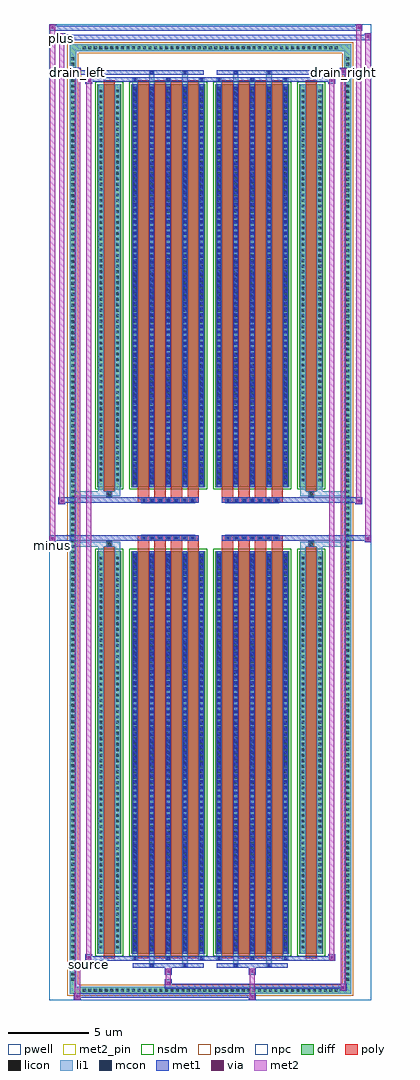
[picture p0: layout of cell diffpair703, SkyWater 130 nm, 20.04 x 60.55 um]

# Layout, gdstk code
import gdstk
lib = gdstk.Library(unit=1e-6, precision=5e-09)
def R(c, l, rs):  # rectangles x0, y0, x1, y1
    for r in rs: c.add(gdstk.rectangle(r[:2], r[2:], *l))
def A(c, l, x, y, w, h, nx, ny, dx, dy):  # array of equal rectangles
    R(c, l, [(x+i*dx, y+j*dy, x+i*dx+w, y+j*dy+h) for i in range(nx) for j in range(ny)])
def P(c, l, *ps):  # polygons
    for p in ps: c.add(gdstk.Polygon(p, *l))
pwell = (64, 44)
diff = (65, 20)
poly = (66, 20)
licon = (66, 44)
li1 = (67, 20)
mcon = (67, 44)
met1 = (68, 20)
via = (68, 44)
met2_pin = (69, 16)
met2 = (69, 20)
nsdm = (93, 44)
psdm = (94, 20)
npc = (95, 20)

diffpair703 = lib.new_cell('diffpair703')
R(diffpair703, pwell, [(-10,-29.84,10,30.71), (-7.32,-28.03,-0.01,-0.805), (0.01,-28.03,7.32,-0.805), (-7.32,0.805,-0.01,28.03), (0.01,0.805,7.32,28.03)])
A(diffpair703, diff, -8.025, -29.44, 0.41, 0.41, 47, 2, 0.34, 58.47)
A(diffpair703, diff, -8.73, -28.765, 0.41, 0.41, 1, 169, 0, 0.34)
A(diffpair703, diff, 8.32, -28.765, 0.41, 0.41, 1, 169, 0, 0.34)
R(diffpair703, diff, [(-8.025,-29.44,8.025,-29.03), (-8.73,-28.765,-8.32,28.765), (8.32,-28.765,8.73,28.765), (-7.01,-26.985,-5.53,-1.985), (-4.89,-26.985,-0.32,-1.985), (0.32,-26.985,4.89,-1.985), (5.53,-26.985,7.01,-1.985), (-7.01,1.985,-5.53,26.985), (-4.89,1.985,-0.32,26.985), (0.32,1.985,4.89,26.985), (5.53,1.985,7.01,26.985), (-8.025,29.03,8.025,29.44)])
P(diffpair703, diff, [(8.73,29.44),(-8.73,29.44),(-8.73,-29.03),(-8.32,-29.03),(-8.32,29.03),(8.32,29.03),(8.32,-29.03),(-8.32,-29.03),(-8.73,-29.03),(-8.73,-29.44),(8.73,-29.44)])
A(diffpair703, poly, -4.5, -27.235, 0.7, 25.5, 4, 2, 1.03, 28.97)
A(diffpair703, poly, 0.71, -27.235, 0.7, 25.5, 4, 2, 1.03, 28.97)
A(diffpair703, poly, -4.5, -1.735, 0.7, 0.4, 4, 2, 1.03, 3.07)
A(diffpair703, poly, 0.71, -1.735, 0.7, 0.4, 4, 2, 1.03, 3.07)
A(diffpair703, poly, -4.27, -1.335, 0.33, 0.33, 7, 2, 0.5, 2.34)
A(diffpair703, poly, 0.94, -1.335, 0.33, 0.33, 7, 2, 0.5, 2.34)
R(diffpair703, poly, [(-6.62,-27.235,-5.92,-1.735), (5.92,-27.235,6.62,-1.735), (-6.435,-1.735,-6.105,-1.405), (-6.435,-1.735,-6.105,-1.405), (6.105,-1.735,6.435,-1.405), (6.105,-1.735,6.435,-1.405), (-4.5,-1.335,-0.71,-1.005), (0.71,-1.335,4.5,-1.005), (-4.5,1.005,-0.71,1.335), (0.71,1.005,4.5,1.335), (-6.435,1.405,-6.105,1.735), (-6.435,1.405,-6.105,1.735), (6.105,1.405,6.435,1.735), (6.105,1.405,6.435,1.735), (-6.62,1.735,-5.92,27.235), (5.92,1.735,6.62,27.235)])
A(diffpair703, licon, -7.905, -29.32, 0.17, 0.17, 47, 2, 0.34, 58.47)
A(diffpair703, licon, -8.61, -28.645, 0.17, 0.17, 1, 169, 0, 0.34)
A(diffpair703, licon, 8.44, -28.645, 0.17, 0.17, 1, 169, 0, 0.34)
A(diffpair703, licon, -6.87, -26.64, 0.17, 0.17, 1, 72, 0, 0.34)
A(diffpair703, licon, -5.84, -26.64, 0.17, 0.17, 1, 72, 0, 0.34)
A(diffpair703, licon, -4.75, -26.64, 0.17, 0.17, 5, 72, 1.03, 0.34)
A(diffpair703, licon, 0.46, -26.64, 0.17, 0.17, 5, 72, 1.03, 0.34)
A(diffpair703, licon, 5.67, -26.64, 0.17, 0.17, 1, 72, 0, 0.34)
A(diffpair703, licon, 6.7, -26.64, 0.17, 0.17, 1, 72, 0, 0.34)
A(diffpair703, licon, -4.19, -1.255, 0.17, 0.17, 7, 2, 0.5, 2.34)
A(diffpair703, licon, 1.02, -1.255, 0.17, 0.17, 7, 2, 0.5, 2.34)
A(diffpair703, licon, -6.87, 2.33, 0.17, 0.17, 1, 72, 0, 0.34)
A(diffpair703, licon, -5.84, 2.33, 0.17, 0.17, 1, 72, 0, 0.34)
A(diffpair703, licon, -4.75, 2.33, 0.17, 0.17, 5, 72, 1.03, 0.34)
A(diffpair703, licon, 0.46, 2.33, 0.17, 0.17, 5, 72, 1.03, 0.34)
A(diffpair703, licon, 5.67, 2.33, 0.17, 0.17, 1, 72, 0, 0.34)
A(diffpair703, licon, 6.7, 2.33, 0.17, 0.17, 1, 72, 0, 0.34)
R(diffpair703, licon, [(-6.355,-1.655,-6.185,-1.485), (6.185,-1.655,6.355,-1.485), (-6.355,1.485,-6.185,1.655), (6.185,1.485,6.355,1.655)])
A(diffpair703, li1, -7.985, -29.4, 0.33, 0.33, 47, 2, 0.34, 58.47)
A(diffpair703, li1, -8.69, -28.725, 0.33, 0.33, 1, 169, 0, 0.34)
A(diffpair703, li1, 8.36, -28.725, 0.33, 0.33, 1, 169, 0, 0.34)
A(diffpair703, li1, -4.83, -27.36, 0.33, 0.375, 3, 2, 2.06, 54.345)
A(diffpair703, li1, -4.75, -27.36, 0.17, 0.17, 3, 2, 2.06, 54.55)
A(diffpair703, li1, 0.38, -27.36, 0.33, 0.375, 3, 2, 2.06, 54.345)
A(diffpair703, li1, 0.46, -27.36, 0.17, 0.17, 3, 2, 2.06, 54.55)
A(diffpair703, li1, -4.83, -26.985, 0.33, 25, 5, 2, 1.03, 28.97)
A(diffpair703, li1, 0.38, -26.985, 0.33, 25, 5, 2, 1.03, 28.97)
A(diffpair703, li1, -4.75, -26.81, 0.17, 0.17, 5, 69, 1.03, 0.36)
A(diffpair703, li1, -4.75, -26.81, 0.17, 24.65, 5, 2, 1.03, 28.97)
A(diffpair703, li1, 0.46, -26.81, 0.17, 0.17, 5, 69, 1.03, 0.36)
A(diffpair703, li1, 0.46, -26.81, 0.17, 24.65, 5, 2, 1.03, 28.97)
A(diffpair703, li1, -6.95, -26.72, 0.33, 0.33, 1, 72, 0, 0.34)
A(diffpair703, li1, -5.92, -26.72, 0.33, 0.33, 1, 72, 0, 0.34)
A(diffpair703, li1, -4.83, -26.72, 0.33, 0.33, 5, 72, 1.03, 0.34)
A(diffpair703, li1, 0.38, -26.72, 0.33, 0.33, 5, 72, 1.03, 0.34)
A(diffpair703, li1, 5.59, -26.72, 0.33, 0.33, 1, 72, 0, 0.34)
A(diffpair703, li1, 6.62, -26.72, 0.33, 0.33, 1, 72, 0, 0.34)
A(diffpair703, li1, -4.27, -1.335, 0.33, 0.33, 7, 2, 0.5, 2.34)
A(diffpair703, li1, 0.94, -1.335, 0.33, 0.33, 7, 2, 0.5, 2.34)
A(diffpair703, li1, -4.75, 2.16, 0.17, 0.17, 5, 69, 1.03, 0.36)
A(diffpair703, li1, 0.46, 2.16, 0.17, 0.17, 5, 69, 1.03, 0.36)
A(diffpair703, li1, -6.95, 2.25, 0.33, 0.33, 1, 72, 0, 0.34)
A(diffpair703, li1, -5.92, 2.25, 0.33, 0.33, 1, 72, 0, 0.34)
A(diffpair703, li1, -4.83, 2.25, 0.33, 0.33, 5, 72, 1.03, 0.34)
A(diffpair703, li1, 0.38, 2.25, 0.33, 0.33, 5, 72, 1.03, 0.34)
A(diffpair703, li1, 5.59, 2.25, 0.33, 0.33, 1, 72, 0, 0.34)
A(diffpair703, li1, 6.62, 2.25, 0.33, 0.33, 1, 72, 0, 0.34)
R(diffpair703, li1, [(-8.73,-29.44,-8.32,-29.03), (-8.73,-29.44,-8.32,-29.03), (-8.32,-29.44,8.32,-29.03), (8.32,-29.44,8.73,-29.03), (8.32,-29.44,8.73,-29.03), (-8.73,-29.03,-8.32,29.03), (8.32,-29.03,8.73,29.03), (-3.8,-27.79,-3.47,-26.985), (-3.72,-27.79,-3.55,-27.62), (-1.74,-27.79,-1.41,-26.985), (-1.66,-27.79,-1.49,-27.62), (1.41,-27.79,1.74,-26.985), (1.49,-27.79,1.66,-27.62), (3.47,-27.79,3.8,-26.985), (3.55,-27.79,3.72,-27.62), (-6.95,-26.985,-6.62,-1.985), (-5.92,-26.985,-5.59,-1.985), (5.59,-26.985,5.92,-1.985), (6.62,-26.985,6.95,-1.985), (-6.95,-1.985,-6.62,-1.405), (-5.92,-1.985,-5.59,-1.405), (5.59,-1.985,5.92,-1.405), (6.62,-1.985,6.95,-1.405), (-8.73,-1.735,-6.435,-1.405), (-6.95,-1.735,-6.435,-1.405), (-6.435,-1.735,-6.105,-1.405), (-6.105,-1.735,-5.59,-1.405), (5.59,-1.735,6.105,-1.405), (6.105,-1.735,6.435,-1.405), (6.105,-1.735,8.73,-1.405), (6.435,-1.735,6.95,-1.405), (-8.73,1.405,-6.435,1.735), (-6.95,1.405,-6.435,1.735), (-6.95,1.405,-6.62,1.985), (-6.435,1.405,-6.105,1.735), (-6.105,1.405,-5.59,1.735), (-5.92,1.405,-5.59,1.985), (5.59,1.405,6.105,1.735), (5.59,1.405,5.92,1.985), (6.105,1.405,6.435,1.735), (6.105,1.405,8.73,1.735), (6.435,1.405,6.95,1.735), (6.62,1.405,6.95,1.985), (-6.95,1.985,-6.62,26.985), (-5.92,1.985,-5.59,26.985), (5.59,1.985,5.92,26.985), (6.62,1.985,6.95,26.985), (-3.8,26.985,-3.47,27.79), (-1.74,26.985,-1.41,27.79), (1.41,26.985,1.74,27.79), (3.47,26.985,3.8,27.79), (-3.72,27.62,-3.55,27.79), (-1.66,27.62,-1.49,27.79), (1.49,27.62,1.66,27.79), (3.55,27.62,3.72,27.79), (-8.73,29.03,-8.32,29.44), (-8.73,29.03,-8.32,29.44), (-8.32,29.03,8.32,29.44), (8.32,29.03,8.73,29.44), (8.32,29.03,8.73,29.44)])
A(diffpair703, mcon, -4.75, -27.36, 0.17, 0.17, 3, 2, 2.06, 54.55)
A(diffpair703, mcon, 0.46, -27.36, 0.17, 0.17, 3, 2, 2.06, 54.55)
A(diffpair703, mcon, -4.75, -26.81, 0.17, 0.17, 5, 69, 1.03, 0.36)
A(diffpair703, mcon, 0.46, -26.81, 0.17, 0.17, 5, 69, 1.03, 0.36)
A(diffpair703, mcon, -4.19, -1.255, 0.17, 0.17, 7, 2, 0.5, 2.34)
A(diffpair703, mcon, 1.02, -1.255, 0.17, 0.17, 7, 2, 0.5, 2.34)
A(diffpair703, mcon, -4.75, 2.16, 0.17, 0.17, 5, 69, 1.03, 0.36)
A(diffpair703, mcon, 0.46, 2.16, 0.17, 0.17, 5, 69, 1.03, 0.36)
R(diffpair703, mcon, [(-3.72,-27.79,-3.55,-27.62), (-1.66,-27.79,-1.49,-27.62), (1.49,-27.79,1.66,-27.62), (3.55,-27.79,3.72,-27.62), (-3.72,27.62,-3.55,27.79), (-1.66,27.62,-1.49,27.79), (1.49,27.62,1.66,27.79), (3.55,27.62,3.72,27.79)])
A(diffpair703, met1, -4.81, -27.42, 0.29, 0.29, 3, 2, 2.06, 54.55)
A(diffpair703, met1, 0.4, -27.42, 0.29, 0.29, 3, 2, 2.06, 54.55)
A(diffpair703, met1, -4.81, -26.985, 0.29, 25, 5, 2, 1.03, 28.97)
A(diffpair703, met1, 0.4, -26.985, 0.29, 25, 5, 2, 1.03, 28.97)
A(diffpair703, met1, -4.81, -26.87, 0.29, 0.29, 5, 69, 1.03, 0.36)
A(diffpair703, met1, 0.4, -26.87, 0.29, 0.29, 5, 69, 1.03, 0.36)
A(diffpair703, met1, -4.25, -1.315, 0.29, 0.29, 7, 2, 0.5, 2.34)
A(diffpair703, met1, 0.96, -1.315, 0.29, 0.29, 7, 2, 0.5, 2.34)
A(diffpair703, met1, -4.81, 2.1, 0.29, 0.29, 5, 69, 1.03, 0.36)
A(diffpair703, met1, 0.4, 2.1, 0.29, 0.29, 5, 69, 1.03, 0.36)
R(diffpair703, met1, [(-8.46,-29.84,-8.03,-29.41), (2.39,-29.84,2.82,-29.41), (-8.46,-29.7,2.82,-29.41), (8.03,-29.27,8.46,-28.84), (-2.82,-29.13,8.46,-28.84), (-2.82,-28.99,-2.39,-28.56), (-2.82,-28.28,-2.39,-27.85), (2.39,-28.28,2.82,-27.85), (-4.81,-27.85,-0.4,-27.56), (-3.78,-27.85,-3.49,-27.56), (-1.72,-27.85,-1.43,-27.56), (0.4,-27.85,4.81,-27.56), (1.43,-27.85,1.72,-27.56), (3.49,-27.85,3.78,-27.56), (-7.75,-27.42,-7.32,-26.99), (-7.75,-27.42,-4.81,-27.13), (-4.81,-27.42,-0.4,-27.13), (-0.4,-27.42,0.4,-27.13), (0.4,-27.42,4.81,-27.13), (4.81,-27.42,7.75,-27.13), (7.32,-27.42,7.75,-26.99), (-10,-1.435,-9.57,-1.005), (9.57,-1.435,10,-1.005), (-10,-1.335,-0.71,-1.005), (-4.5,-1.335,-0.71,-1.005), (0.71,-1.335,4.5,-1.005), (0.71,-1.335,10,-1.005), (-9.43,0.905,-9,1.335), (9,0.905,9.43,1.335), (-9.43,1.005,-4.5,1.335), (-4.5,1.005,-0.71,1.335), (0.71,1.005,4.5,1.335), (4.5,1.005,9.43,1.335), (-7.75,26.99,-7.32,27.42), (7.32,26.99,7.75,27.42), (-7.75,27.13,-4.81,27.42), (-4.81,27.13,-0.4,27.42), (-0.4,27.13,0.4,27.42), (0.4,27.13,4.81,27.42), (4.81,27.13,7.75,27.42), (-8.46,27.56,-8.03,27.99), (-8.46,27.56,-4.81,27.85), (-4.81,27.56,-0.4,27.85), (-3.78,27.56,-3.49,27.85), (-1.72,27.56,-1.43,27.85), (0.4,27.56,4.81,27.85), (1.43,27.56,1.72,27.85), (3.49,27.56,3.78,27.85), (4.81,27.56,8.46,27.85), (8.03,27.56,8.46,27.99), (-9.43,29.71,-9,30.14), (-9.43,29.71,-7.32,30.04), (-7.32,29.71,7.32,30.04), (7.32,29.71,10,30.04), (9.57,29.71,10,30.14), (-10,30.28,-9.57,30.71), (-10,30.28,-7.32,30.61), (-7.32,30.28,7.32,30.61), (7.32,30.28,9.43,30.61), (9,30.28,9.43,30.71)])
R(diffpair703, via, [(-8.32,-29.7,-8.17,-29.55), (2.53,-29.7,2.68,-29.55), (8.17,-29.13,8.32,-28.98), (-2.68,-28.85,-2.53,-28.7), (-2.68,-28.14,-2.53,-27.99), (2.53,-28.14,2.68,-27.99), (-7.61,-27.28,-7.46,-27.13), (7.46,-27.28,7.61,-27.13), (-9.86,-1.295,-9.71,-1.145), (9.71,-1.295,9.86,-1.145), (-9.29,1.045,-9.14,1.195), (9.14,1.045,9.29,1.195), (-7.61,27.13,-7.46,27.28), (7.46,27.13,7.61,27.28), (-8.32,27.7,-8.17,27.85), (8.17,27.7,8.32,27.85), (-9.29,29.85,-9.14,30), (9.71,29.85,9.86,30), (-9.86,30.42,-9.71,30.57), (9.14,30.42,9.29,30.57)])
R(diffpair703, met2_pin, [(-7.785,-27.87,-7.285,-27.37), (-10.035,-1.885,-9.535,-1.385), (-8.495,27.44,-7.995,27.94), (7.995,27.44,8.495,27.94), (-9.465,29.59,-8.965,30.09)])
R(diffpair703, met2, [(-8.41,-29.79,-8.08,-29.46), (-8.41,-29.79,-8.08,27.94), (2.44,-29.79,2.77,-29.46), (2.44,-29.46,2.77,-28.23), (8.08,-29.22,8.41,-28.89), (8.08,-29.22,8.41,27.94), (-2.77,-28.94,-2.44,-28.61), (-2.77,-28.61,-2.44,-28.23), (-2.77,-28.23,-2.44,-27.9), (2.44,-28.23,2.77,-27.9), (-7.7,-27.37,-7.37,-27.04), (-7.7,-27.37,-7.37,27.37), (7.37,-27.37,7.7,-27.04), (7.37,-27.37,7.7,27.37), (-9.95,-1.385,-9.62,-1.055), (-9.95,-1.385,-9.62,30.66), (9.62,-1.385,9.95,-1.055), (9.62,-1.385,9.95,30.09), (-9.38,0.955,-9.05,1.285), (-9.38,0.955,-9.05,30.09), (9.05,0.955,9.38,1.285), (9.05,0.955,9.38,30.66), (-7.7,27.04,-7.37,27.37), (7.37,27.04,7.7,27.37), (-8.41,27.61,-8.08,27.94), (8.08,27.61,8.41,27.94), (-9.38,29.76,-9.05,30.09), (9.62,29.76,9.95,30.09), (-9.95,30.33,-9.62,30.66), (9.05,30.33,9.38,30.66)])
P(diffpair703, met2, [(9.95,-1.385),(9.95,-1.385),(9.95,-1.055),(9.95,-1.055)],
  [(9.95,29.76),(9.95,29.76),(9.95,30.09),(9.95,30.09)],
  [(-9.62,-1.385),(-9.62,-1.385),(-9.62,-1.055),(-9.62,-1.055)],
  [(-9.62,30.33),(-9.62,30.33),(-9.62,30.66),(-9.62,30.66)],
  [(9.38,0.955),(9.38,0.955),(9.38,1.285),(9.38,1.285)],
  [(9.38,30.33),(9.38,30.33),(9.38,30.66),(9.38,30.66)],
  [(-9.05,0.955),(-9.05,0.955),(-9.05,1.285),(-9.05,1.285)],
  [(-9.05,29.76),(-9.05,29.76),(-9.05,30.09),(-9.05,30.09)],
  [(-8.08,-29.79),(-8.08,-29.79),(-8.08,-29.46),(-8.08,-29.46)],
  [(-8.08,27.61),(-8.08,27.61),(-8.08,27.94),(-8.08,27.94)],
  [(8.41,-29.22),(8.41,-29.22),(8.41,-28.89),(8.41,-28.89)],
  [(8.41,27.61),(8.41,27.61),(8.41,27.94),(8.41,27.94)],
  [(-7.37,-27.37),(-7.37,-27.37),(-7.37,-27.04),(-7.37,-27.04)],
  [(-7.37,27.04),(-7.37,27.04),(-7.37,27.37),(-7.37,27.37)],
  [(7.7,-27.37),(7.7,-27.37),(7.7,-27.04),(7.7,-27.04)],
  [(7.7,27.04),(7.7,27.04),(7.7,27.37),(7.7,27.37)])
R(diffpair703, nsdm, [(-7.14,-27.115,-5.4,-1.855), (-5.02,-27.115,-0.19,-1.855), (0.19,-27.115,5.02,-1.855), (5.4,-27.115,7.14,-1.855), (-7.14,1.855,-5.4,27.115), (-5.02,1.855,-0.19,27.115), (0.19,1.855,5.02,27.115), (5.4,1.855,7.14,27.115)])
P(diffpair703, psdm, [(8.86,29.57),(-8.86,29.57),(-8.86,-28.9),(-8.19,-28.9),(-8.19,28.9),(8.19,28.9),(8.19,-28.9),(-8.19,-28.9),(-8.86,-28.9),(-8.86,-29.57),(8.86,-29.57)])
A(diffpair703, npc, -4.29, -1.355, 0.37, 0.37, 7, 2, 0.5, 2.34)
A(diffpair703, npc, 0.92, -1.355, 0.37, 0.37, 7, 2, 0.5, 2.34)
R(diffpair703, npc, [(-6.455,-1.755,-6.085,-1.385), (6.085,-1.755,6.455,-1.385), (-4.29,-1.355,-3.42,-0.985), (-4.29,-1.355,-3.42,-0.985), (-3.79,-1.355,-2.92,-0.985), (-3.79,-1.355,-2.92,-0.985), (-3.29,-1.355,-2.42,-0.985), (-3.29,-1.355,-2.42,-0.985), (-2.79,-1.355,-1.92,-0.985), (-2.79,-1.355,-1.92,-0.985), (-2.29,-1.355,-1.42,-0.985), (-2.29,-1.355,-1.42,-0.985), (-1.79,-1.355,-0.92,-0.985), (-1.79,-1.355,-0.92,-0.985), (0.92,-1.355,1.79,-0.985), (0.92,-1.355,1.79,-0.985), (1.42,-1.355,2.29,-0.985), (1.42,-1.355,2.29,-0.985), (1.92,-1.355,2.79,-0.985), (1.92,-1.355,2.79,-0.985), (2.42,-1.355,3.29,-0.985), (2.42,-1.355,3.29,-0.985), (2.92,-1.355,3.79,-0.985), (2.92,-1.355,3.79,-0.985), (3.42,-1.355,4.29,-0.985), (3.42,-1.355,4.29,-0.985), (-4.29,0.985,-3.42,1.355), (-4.29,0.985,-3.42,1.355), (-3.79,0.985,-2.92,1.355), (-3.79,0.985,-2.92,1.355), (-3.29,0.985,-2.42,1.355), (-3.29,0.985,-2.42,1.355), (-2.79,0.985,-1.92,1.355), (-2.79,0.985,-1.92,1.355), (-2.29,0.985,-1.42,1.355), (-2.29,0.985,-1.42,1.355), (-1.79,0.985,-0.92,1.355), (-1.79,0.985,-0.92,1.355), (0.92,0.985,1.79,1.355), (0.92,0.985,1.79,1.355), (1.42,0.985,2.29,1.355), (1.42,0.985,2.29,1.355), (1.92,0.985,2.79,1.355), (1.92,0.985,2.79,1.355), (2.42,0.985,3.29,1.355), (2.42,0.985,3.29,1.355), (2.92,0.985,3.79,1.355), (2.92,0.985,3.79,1.355), (3.42,0.985,4.29,1.355), (3.42,0.985,4.29,1.355), (-6.455,1.385,-6.085,1.755), (6.085,1.385,6.455,1.755)])
diffpair703.add(gdstk.Label('minus', (-9.785,-1.635), layer=69, texttype=5))
diffpair703.add(gdstk.Label('drain_right', (8.245,27.69), layer=69, texttype=5))
diffpair703.add(gdstk.Label('drain_left', (-8.245,27.69), layer=69, texttype=5))
diffpair703.add(gdstk.Label('source', (-7.535,-27.62), layer=69, texttype=5))
diffpair703.add(gdstk.Label('plus', (-9.215,29.84), layer=69, texttype=5))

lib.write_gds('diffpair703.gds')
